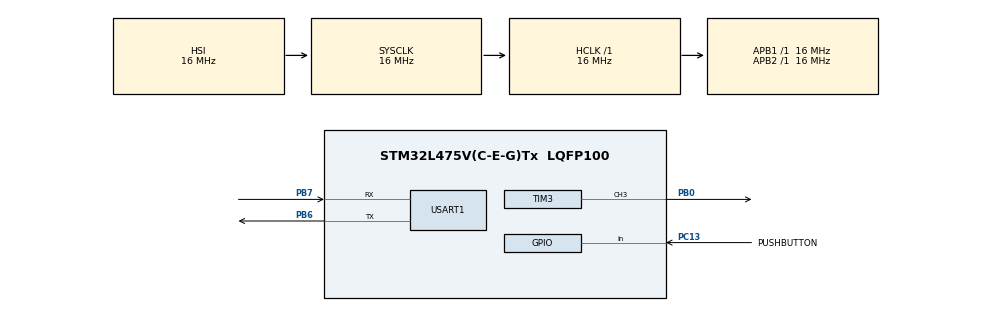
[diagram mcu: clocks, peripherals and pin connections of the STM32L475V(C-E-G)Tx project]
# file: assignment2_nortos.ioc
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Dma.Request0=USART1_RX
Dma.Request1=USART1_TX
Dma.USART1_RX.0.Direction=DMA_PERIPH_TO_MEMORY
Dma.USART1_RX.0.Instance=DMA1_Channel5
Dma.USART1_RX.0.MemDataAlignment=DMA_MDATAALIGN_BYTE
Dma.USART1_RX.0.MemInc=DMA_MINC_ENABLE
Dma.USART1_RX.0.Mode=DMA_CIRCULAR
Dma.USART1_RX.0.PeriphDataAlignment=DMA_PDATAALIGN_BYTE
Dma.USART1_RX.0.PeriphInc=DMA_PINC_DISABLE
Dma.USART1_RX.0.Priority=DMA_PRIORITY_LOW
Dma.USART1_TX.1.Direction=DMA_MEMORY_TO_PERIPH
Dma.USART1_TX.1.Instance=DMA1_Channel4
Dma.USART1_TX.1.MemDataAlignment=DMA_MDATAALIGN_BYTE
Dma.USART1_TX.1.MemInc=DMA_MINC_ENABLE
Dma.USART1_TX.1.Mode=DMA_NORMAL
Dma.USART1_TX.1.PeriphDataAlignment=DMA_PDATAALIGN_BYTE
Dma.USART1_TX.1.PeriphInc=DMA_PINC_DISABLE
Dma.USART1_TX.1.Priority=DMA_PRIORITY_LOW
Mcu.Family=STM32L4
Mcu.Name=STM32L475V(C-E-G)Tx
Mcu.Package=LQFP100
NVIC.DMA1_Channel4_IRQn=true\:0\:0\:false\:false\:true\:false\:true\:true
NVIC.DMA1_Channel5_IRQn=true\:0\:0\:false\:false\:true\:false\:true\:true
NVIC.PriorityGroup=NVIC_PRIORITYGROUP_4
NVIC.TIM6_DAC_IRQn=true\:15\:0\:false\:false\:true\:false\:true\:true
NVIC.TimeBase=TIM6_DAC_IRQn
NVIC.TimeBaseIP=TIM6
NVIC.USART1_IRQn=true\:0\:0\:false\:false\:true\:true\:true\:true
PB0.Signal=S_TIM3_CH3
PB6.Mode=Asynchronous
PB6.Signal=USART1_TX
PB7.Mode=Asynchronous
PB7.Signal=USART1_RX
PC13.GPIO_Label=PUSHBUTTON
PC13.GPIO_PuPd=GPIO_PULLUP
PC13.Signal=GPIO_Input
ProjectManager.HeapSize=0x1200
ProjectManager.StackSize=0x3000
ProjectManager.TargetToolchain=STM32CubeIDE
RCC.ADCFreq_Value=16000000
RCC.AHBFreq_Value=16000000
RCC.APB1Freq_Value=16000000
RCC.APB1TimFreq_Value=16000000
RCC.APB2Freq_Value=16000000
RCC.APB2TimFreq_Value=16000000
RCC.CortexFreq_Value=16000000
RCC.HCLKFreq_Value=16000000
RCC.HSE_VALUE=8000000
RCC.HSI_VALUE=16000000
RCC.LSE_VALUE=32768
RCC.MSI_VALUE=4000000
RCC.PLLN=16
RCC.SYSCLKFreq_VALUE=16000000
RCC.SYSCLKSource=RCC_SYSCLKSOURCE_HSI
RCC.USBFreq_Value=16000000
RCC.VCOOutputFreq_Value=64000000
SH.S_TIM3_CH3.0=TIM3_CH3,PWM Generation3 CH3
TIM3.Channel-PWM\ Generation3\ CH3=TIM_CHANNEL_3
TIM3.Period=4545
TIM3.Prescaler=8-1
USART1.VirtualMode-Asynchronous=VM_ASYNC
VP_SYS_VS_tim6.Mode=TIM6
board=custom

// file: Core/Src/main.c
/* USER CODE BEGIN Header */
/**
  ******************************************************************************
  * @file           : main.c
  * @brief          : Main program body
  ******************************************************************************
  * @attention
  *
  * Copyright (c) 2023 STMicroelectronics.
  * All rights reserved.
  *
  * This software is licensed under terms that can be found in the LICENSE file
  * in the root directory of this software component.
  * If no LICENSE file comes with this software, it is provided AS-IS.
  *
  ******************************************************************************
  */
/* USER CODE END Header */
#include "main.h"
#include "dma.h"
#include "tim.h"
#include "usart.h"
#include "gpio.h"

/* USER CODE BEGIN Includes */
#include "stdio.h"
/* USER CODE END Includes */

/* USER CODE BEGIN PTD */
typedef struct {
	float x;
	float y;
	float z;
}axis_data_t;

typedef struct{
	float pressure;
}lps_data_t;

typedef struct{
	float temperature;
	float humidity;
}hts_data_t;

typedef enum {
	SENTRY=0,
	WARNING=1,
	BATTLE=2
}warship_state_e;

/* USER CODE END PTD */

/* USER CODE BEGIN PV */
void HAL_GPIO_EXTI_Callback(uint16_t GPIO_Pin){

}
/* USER CODE END PV */

void SystemClock_Config(void);

/* USER CODE BEGIN 0 */

void uart_send(warship_state_e warship_state, axis_data_t gyro_data, axis_data_t accel_data, axis_data_t mag_data,
		lps_data_t pressure_data, hts_data_t temphum_data){

	static char tx_buffer[256];
	static uint8_t tx_len = 0;
	switch(warship_state){
		case SENTRY:
			tx_len = snprintf(tx_buffer, 256, 			"G: X:%.4fdps | Y:%.4fdps | Z:%.4fdps \r\n",
								gyro_data.x, gyro_data.y, gyro_data.z);
			tx_len += snprintf(tx_buffer+tx_len, 256,	"A: X:%.4fg   | Y:%.4fg   | Z:%.4fg \r\n",
								accel_data.x, accel_data.y, accel_data.z);
			tx_len += snprintf(tx_buffer+tx_len, 256, 	"P: %.4fpa    | H:%.4f	  | T: %.4f \r\n\n",
								pressure_data.pressure, temphum_data.humidity, temphum_data.temperature);
			break;
		case WARNING:
			tx_len = snprintf(tx_buffer, 256, 			"G: X:%.4fdps | Y:%.4fdps | Z:%.4fdps \r\n",
								gyro_data.x, gyro_data.y, gyro_data.z);
			tx_len += snprintf(tx_buffer+tx_len, 256,	"A: X:%.4fg   | Y:%.4fg   | Z:%.4fg \r\n",
								accel_data.x, accel_data.y, accel_data.z);
			tx_len += snprintf(tx_buffer+tx_len, 256, 	"P: %.4fpa    | H:%.4f	  | T: %.4f \r\n\n",
								pressure_data.pressure, temphum_data.humidity, temphum_data.temperature);
			break;
		case BATTLE:
			tx_len = snprintf(tx_buffer, 256, 			"G: X:%.4fdps | Y:%.4fdps | Z:%.4fdps \r\n",
								gyro_data.x, gyro_data.y, gyro_data.z);
			tx_len += snprintf(tx_buffer+tx_len, 256,	"A: X:%.4fg   | Y:%.4fg   | Z:%.4fg \r\n",
								accel_data.x, accel_data.y, accel_data.z);
			tx_len += snprintf(tx_buffer+tx_len, 256, 	"P: %.4fpa    | H:%.4f	  | T: %.4f \r\n\n",
								pressure_data.pressure, temphum_data.humidity, temphum_data.temperature);
			break;
		default:
			break;
	}
	HAL_UART_Transmit_DMA(&huart1, (uint8_t*)tx_buffer,tx_len);
}

axis_data_t get_gyro_data(){
	//get magnetometer data here and convert to readable and 3 axis
	axis_data_t gyro_data;
	gyro_data.x = 0.5;
	gyro_data.y = 0.5;
	gyro_data.z = 0.5;

	return gyro_data;
}

axis_data_t get_accel_data(){
	//get accelerometer data here and convert to readable and 3 axis
	axis_data_t accel_data;
	accel_data.x = 1;
	accel_data.y = 1;
	accel_data.z = 1;

	return accel_data;
}

axis_data_t get_mag_data(){
	//get magnetometer data here and convert to readable and 3 axis
	axis_data_t mag_data;
	mag_data.x = 5;
	mag_data.y = 10;
	mag_data.z = 0;

	return mag_data;
}

float get_pres_data(){
	//get pressure data here and convert to readable
	float pressure;
	pressure = 1.0;

	return pressure;
}

float get_temp_data(){
	//get temperature data here and convert to readable
	float temperature;
	temperature = 29.5;

	return temperature;
}

float get_humidity_data(){
	//get temperature data here and convert to readable
	float humidity;
	humidity = 50;

	return humidity;
}
/* USER CODE END 0 */

int main(void)
{

  /* MCU Configuration--------------------------------------------------------*/

  /* Reset of all peripherals, Initializes the Flash interface and the Systick. */
  HAL_Init();

  /* Configure the system clock */
  SystemClock_Config();

  /* Initialize all configured peripherals */
  MX_GPIO_Init();
  MX_DMA_Init();
  MX_USART1_UART_Init();
  MX_TIM3_Init();
  /* USER CODE BEGIN 2 */
  //variables
  time_t uart_tick = 0;
  time_t accel_tick = 0;
  time_t gyro_tick = 0;
  time_t lis_tick = 0;
  time_t temp_tick = 0;
  time_t humi_tick = 0;
  time_t pres_tick = 0;

  axis_data_t accel_data;
  axis_data_t gyro_data;
  axis_data_t mag_data;
  hts_data_t temphum_data;
  lps_data_t pressure_data;
  warship_state_e warship_state = SENTRY;

  /* USER CODE END 2 */

  /* Infinite loop */
  /* USER CODE BEGIN WHILE */

  //todo: insert initialisation code here for all the peripherals

  while (1)
  {
	  if (uwTick - uart_tick > 1000){
		  uart_tick = uwTick;
		  uart_send(warship_state, gyro_data, accel_data, mag_data,pressure_data, temphum_data);
	  }
	  if (uwTick - lis_tick > 1000){
		  lis_tick = uwTick;
		  mag_data = get_mag_data();
	  }
	  if (uwTick - accel_tick > 1000){
		  accel_tick = uwTick;
		  accel_data = get_accel_data();
	  }
	  if (uwTick - gyro_tick > 1000){
		  gyro_tick = uwTick;
		  gyro_data = get_gyro_data();
	  }
	  if (uwTick - temp_tick > 1000){
		  temp_tick = uwTick;
		  temphum_data.temperature = get_temp_data();
	  }
	  if (uwTick - humi_tick > 1000){
		  humi_tick = uwTick;
		  temphum_data.humidity = get_humidity_data();
	  }
	  if (uwTick - pres_tick > 1000){
		  pres_tick = uwTick;
		  pressure_data.pressure = get_pres_data();
	  }

    /* USER CODE END WHILE */

  }
}

void SystemClock_Config(void)
{
  RCC_OscInitTypeDef RCC_OscInitStruct = {0};
  RCC_ClkInitTypeDef RCC_ClkInitStruct = {0};

  /** Configure the main internal regulator output voltage
  */
  if (HAL_PWREx_ControlVoltageScaling(PWR_REGULATOR_VOLTAGE_SCALE1) != HAL_OK)
  {
    Error_Handler();
  }

  /** Initializes the RCC Oscillators according to the specified parameters
  * in the RCC_OscInitTypeDef structure.
  */
  RCC_OscInitStruct.OscillatorType = RCC_OSCILLATORTYPE_HSI;
  RCC_OscInitStruct.HSIState = RCC_HSI_ON;
  RCC_OscInitStruct.HSICalibrationValue = RCC_HSICALIBRATION_DEFAULT;
  RCC_OscInitStruct.PLL.PLLState = RCC_PLL_NONE;
  if (HAL_RCC_OscConfig(&RCC_OscInitStruct) != HAL_OK)
  {
    Error_Handler();
  }

  /** Initializes the CPU, AHB and APB buses clocks
  */
  RCC_ClkInitStruct.ClockType = RCC_CLOCKTYPE_HCLK|RCC_CLOCKTYPE_SYSCLK
                              |RCC_CLOCKTYPE_PCLK1|RCC_CLOCKTYPE_PCLK2;
  RCC_ClkInitStruct.SYSCLKSource = RCC_SYSCLKSOURCE_HSI;
  RCC_ClkInitStruct.AHBCLKDivider = RCC_SYSCLK_DIV1;
  RCC_ClkInitStruct.APB1CLKDivider = RCC_HCLK_DIV1;
  RCC_ClkInitStruct.APB2CLKDivider = RCC_HCLK_DIV1;

  if (HAL_RCC_ClockConfig(&RCC_ClkInitStruct, FLASH_LATENCY_0) != HAL_OK)
  {
    Error_Handler();
  }
}

void HAL_TIM_PeriodElapsedCallback(TIM_HandleTypeDef *htim)
{
  if (htim->Instance == TIM6) {
    HAL_IncTick();
  }
}

void Error_Handler(void)
{
  __disable_irq();
  while (1)
  {
  }
}
